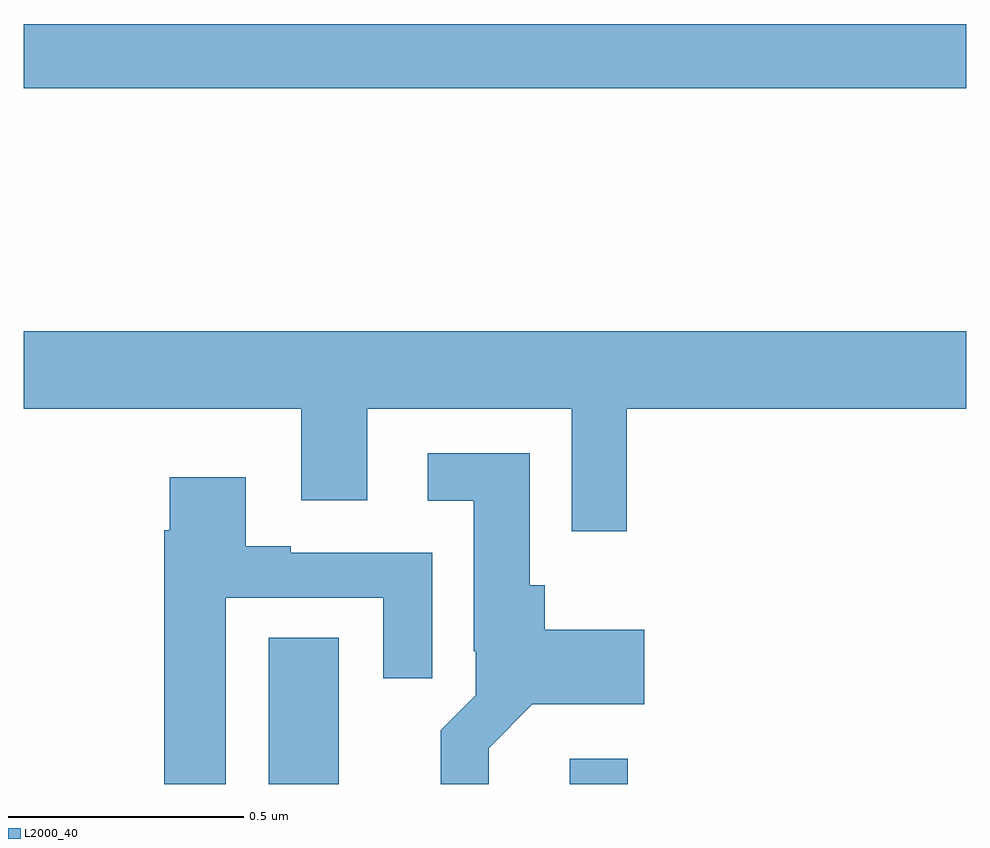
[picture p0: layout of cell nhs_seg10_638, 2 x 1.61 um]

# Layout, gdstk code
import gdstk
lib = gdstk.Library(unit=1e-6, precision=1e-09)
def R(c, l, rs):  # rectangles x0, y0, x1, y1
    for r in rs: c.add(gdstk.rectangle(r[:2], r[2:], *l))
def P(c, l, *ps):  # polygons
    for p in ps: c.add(gdstk.Polygon(p, *l))
L2000_40 = (2000, 40)

nhs_seg10_638 = lib.new_cell('nhs_seg10_638')
R(nhs_seg10_638, L2000_40, [(118.52,1319.5,118.669,1319.81), (119.159,1319.5,119.282,1319.554), (118,1320.976,120,1321.112)])
P(nhs_seg10_638, L2000_40, [(119.279,1320.296),(120,1320.296),(120,1320.46),(118,1320.46),(118,1320.296),(118.589,1320.296),(118.589,1320.102),(118.729,1320.102),(118.729,1320.296),(119.163,1320.296),(119.163,1320.036),(119.279,1320.036)],
  [(118.987,1319.576),(119.079,1319.669),(119.317,1319.669),(119.317,1319.827),(119.105,1319.827),(119.105,1319.922),(119.074,1319.922),(119.074,1320.202),(118.857,1320.202),(118.857,1320.101),(118.955,1320.101),(118.955,1319.782),(118.959,1319.782),(118.959,1319.688),(118.885,1319.614),(118.885,1319.5),(118.987,1319.5)],
  [(118.429,1319.895),(118.763,1319.895),(118.763,1319.724),(118.867,1319.724),(118.867,1319.991),(118.567,1319.991),(118.567,1320.004),(118.471,1320.004),(118.471,1320.151),(118.31,1320.151),(118.31,1320.038),(118.298,1320.038),(118.298,1319.5),(118.429,1319.5)])

lib.write_gds('nhs_seg10_638.gds')
